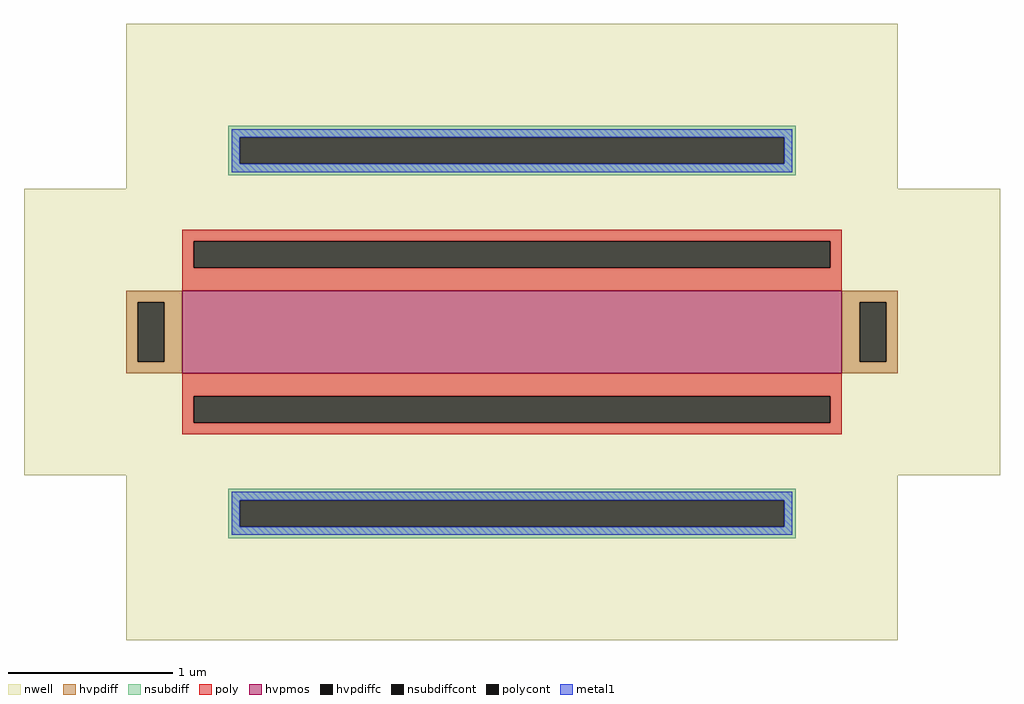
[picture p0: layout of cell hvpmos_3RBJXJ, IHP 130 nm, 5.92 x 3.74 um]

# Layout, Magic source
magic
tech ihp-sg13g2
<< nwell >>
rect -234 87 234 187
rect -296 -87 296 87
rect -234 -187 234 -87
<< hvpmos >>
rect -200 -25 200 25
<< hvpdiff >>
rect -234 18 -200 25
rect -234 -18 -227 18
rect -211 -18 -200 18
rect -234 -25 -200 -18
rect 200 18 234 25
rect 200 -18 211 18
rect 227 -18 234 18
rect 200 -25 234 -18
<< hvpdiffc >>
rect -227 -18 -211 18
rect 211 -18 227 18
<< nsubdiff >>
rect -172 118 172 125
rect -172 102 -165 118
rect 165 102 172 118
rect -172 95 172 102
rect -172 -102 172 -95
rect -172 -118 -165 -102
rect 165 -118 172 -102
rect -172 -125 172 -118
<< nsubdiffcont >>
rect -165 102 165 118
rect -165 -118 165 -102
<< poly >>
rect -200 55 200 62
rect -200 39 -193 55
rect 193 39 200 55
rect -200 25 200 39
rect -200 -39 200 -25
rect -200 -55 -193 -39
rect 193 -55 200 -39
rect -200 -62 200 -55
<< polycont >>
rect -193 39 193 55
rect -193 -55 193 -39
<< metal1 >>
rect -170 118 170 123
rect -170 102 -165 118
rect 165 102 170 118
rect -170 97 170 102
rect -170 -102 170 -97
rect -170 -118 -165 -102
rect 165 -118 170 -102
rect -170 -123 170 -118
<< properties >>
string gencell hvpmos
string library sg13g2_devstdin
string parameters w 0.5 l 4 nf 1 nx 1 dx 0.21 ny 1 dy 0.18 wmin 0.50 lmin 0.50 class mosfet gcontcov_t 100 gcontcov_b 100 dcontcov_l 100 dcontcov_r 100 guard_distf 1.5 glc 0 grc 0 gtc 1 gbc 1
<< end >>
